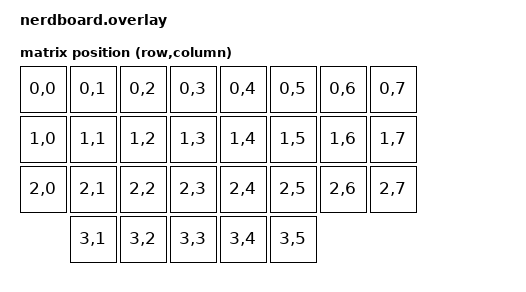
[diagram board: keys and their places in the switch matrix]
#include <dt-bindings/zmk/matrix_transform.h>

/ {
    chosen {
        zmk,matrix_transform = &default_transform;
        zmk,kscan = &kscan0;
        zmk,battery = &vbatt;
        zephyr,display = &oled;
    };

    vbatt: vbatt {
        compatible = "zmk,battery-voltage-divider";
        io-channels = <&adc 7>; // ADC channel 7 = AIN7 = P0.31 = pro micro 21 = F4
        output-ohms = <1000000>;
        full-ohms = <2000000>;
    };

    default_transform: keymap_transform_0 {
        compatible = "zmk,matrix-transform";
        columns = <8>;
        rows = <4>;
        map = <
RC(0,0) RC(0,1) RC(0,2) RC(0,3) RC(0,4) RC(0,5) RC(0,6) RC(0,7)
RC(1,0) RC(1,1) RC(1,2) RC(1,3) RC(1,4) RC(1,5) RC(1,6) RC(1,7)
RC(2,0) RC(2,1) RC(2,2) RC(2,3) RC(2,4) RC(2,5) RC(2,6) RC(2,7)
        RC(3,1) RC(3,2) RC(3,3) RC(3,4) RC(3,5)
        >;
    };

    // Define the node here first
    kscan0: kscan_0 {
        compatible = "zmk,kscan-gpio-matrix";
        diode-direction = "col2row";
        
        // Leave these empty here; they get filled in the _left and _right overlays
        row-gpios = <>;
        col-gpios = <>;
    };
};


&adc {
    status = "okay";
};

&i2c1 {
    compatible = "nordic,nrf-twi";
    status = "okay";
    pinctrl-0 = <&i2c1_default>;
    pinctrl-names = "default";
    clock-frequency = <I2C_BITRATE_STANDARD>;

    oled: ssd1306@3c {
        compatible = "solomon,ssd1306fb";
        reg = <0x3c>;
        width = <128>;
        height = <64>;
        segment-remap;
        com-invdir;
        multiplex-ratio = <63>;
        prechargep = <0x22>;
        page-offset = <0>;
        segment-offset = <0>;
        display-offset = <0>;
    };
};

&pinctrl {
    spi0_default: spi0_default {
        group1 {
            psels = <NRF_PSEL(SPIM_SCK,  1, 13)>,
                    <NRF_PSEL(SPIM_MOSI, 0, 10)>,
                    <NRF_PSEL(SPIM_MISO, 1, 11)>;
        };
    };

    // I2C1 uses the same physical pins as I2C0 (P0.17 SDA, P0.20 SCL).
    // I2C1 is at 0x40004000, separate from SPI0 at 0x40003000, so both
    // can be active simultaneously once I2C0 is disabled.
    i2c1_default: i2c1_default {
        group1 {
            psels = <NRF_PSEL(TWIM_SDA, 0, 17)>,
                    <NRF_PSEL(TWIM_SCL, 0, 20)>;
        };
    };
};
